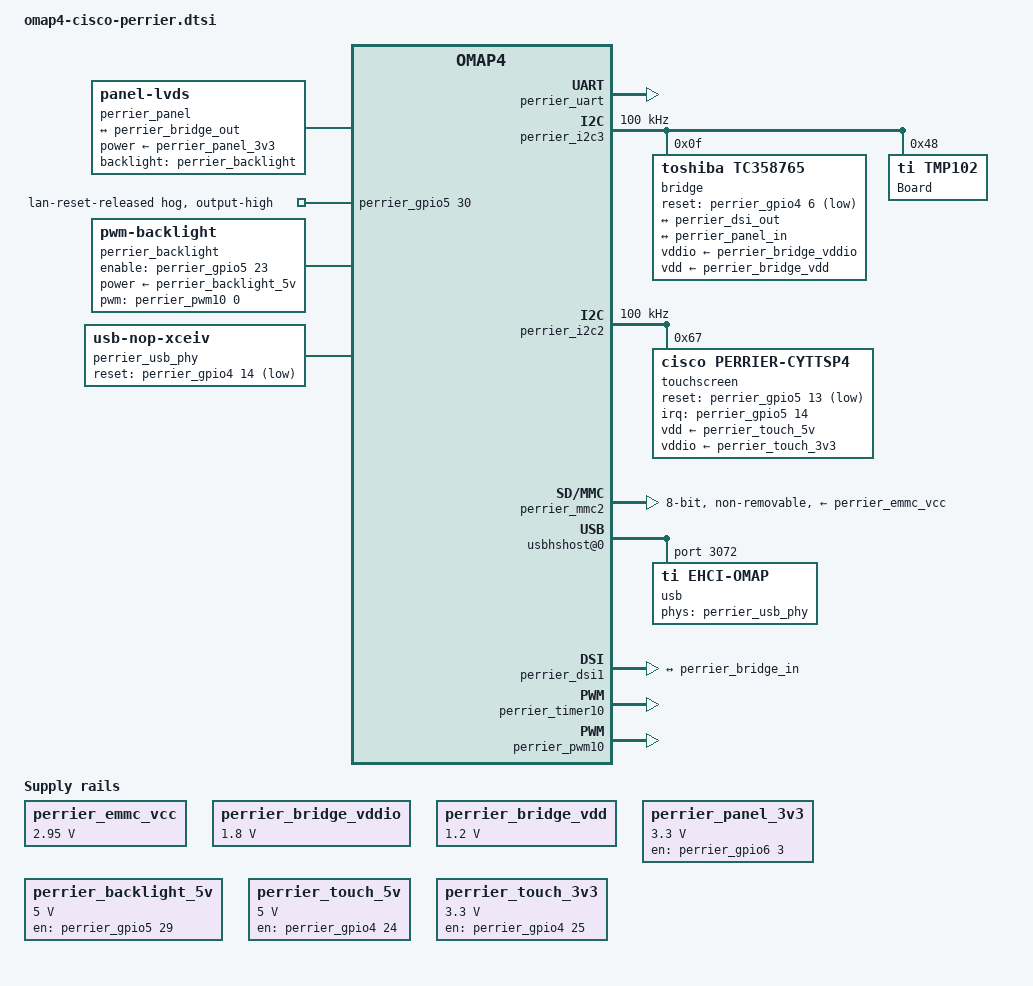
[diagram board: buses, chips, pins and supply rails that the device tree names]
// SPDX-License-Identifier: GPL-2.0-only
// Perrier hardware description; tested with the separate RAM policy.
#include <dt-bindings/gpio/gpio.h>
#include <dt-bindings/input/input.h>
#include <dt-bindings/input/linux-event-codes.h>

// Verified Perrier peripheral wiring and board-specific display settings.

/ {


	aliases {
		serial0 = &perrier_uart;
		mmc0 = &perrier_mmc2;
		i2c1 = &perrier_i2c2;
		i2c2 = &perrier_i2c3;
		/delete-property/ i2c0;
		/delete-property/ i2c3;
		/delete-property/ serial1;
		/delete-property/ serial2;
		/delete-property/ serial3;
		/delete-property/ mmc1;
		/delete-property/ mmc2;
		/delete-property/ mmc3;
		/delete-property/ mmc4;
	};
	// Stock UART3 is already muxed and clocked at 48 MHz. No pad/GPIO writes.
	perrier_uart: serial@48020000 {
		compatible = "ti,omap4-uart";
		reg = <0x48020000 0x100>;
		interrupts = <GIC_SPI 74 IRQ_TYPE_LEVEL_HIGH>;
		interrupt-parent = <&gic>;
		clock-frequency = <48000000>;
	};

	// Stock board data advertises OCR bit 0x20000 (2.9-3.0 V) for MMC2.
	// This fixed-regulator declaration has no enable GPIO and cannot change
	// the physical rail. The real board power sequence is still inherited.
	perrier_emmc_vcc: regulator-emmc-vcc {
		compatible = "regulator-fixed";
		regulator-name = "perrier-emmc-vcc";
		regulator-min-microvolt = <2950000>;
		regulator-max-microvolt = <2950000>;
		regulator-always-on;
	};

	// OMAP I2C3 is the stock display bridge bus at 0x48060000. Register
	// only the controller; do not instantiate the bridge or issue transfers.
	target-module@48060000 {
		compatible = "ti,sysc-omap2", "ti,sysc";
		reg = <0x48060000 0x8>, <0x48060010 0x8>, <0x48060090 0x8>;
		reg-names = "rev", "sysc", "syss";
		ti,sysc-mask = <(SYSC_OMAP2_CLOCKACTIVITY |
						 SYSC_OMAP2_ENAWAKEUP |
						 SYSC_OMAP2_SOFTRESET |
						 SYSC_OMAP2_AUTOIDLE)>;
		ti,sysc-sidle = <SYSC_IDLE_FORCE>, <SYSC_IDLE_NO>,
						<SYSC_IDLE_SMART>, <SYSC_IDLE_SMART_WKUP>;
		ti,syss-mask = <1>;
		clocks = <&l4_per_clkctrl OMAP4_I2C3_CLKCTRL 0>;
		clock-names = "fck";
		#address-cells = <1>;
		#size-cells = <1>;
		ranges = <0 0x48060000 0x1000>;

		perrier_i2c3: i2c@0 {
			compatible = "ti,omap4-i2c";
			reg = <0 0x100>;
			interrupts = <GIC_SPI 61 IRQ_TYPE_LEVEL_HIGH>;
			clock-frequency = <100000>;
			#address-cells = <1>;
			#size-cells = <0>;
		};
	};

	// OMAP I2C2 is the stock touchscreen bus at 0x48072000. Probe only the
	// controller: no child device, GPIO, pinmux or regulator is present.
	target-module@48072000 {
		compatible = "ti,sysc-omap2", "ti,sysc";
		reg = <0x48072000 0x8>, <0x48072010 0x8>, <0x48072090 0x8>;
		reg-names = "rev", "sysc", "syss";
		ti,sysc-mask = <(SYSC_OMAP2_CLOCKACTIVITY |
						 SYSC_OMAP2_ENAWAKEUP |
						 SYSC_OMAP2_SOFTRESET |
						 SYSC_OMAP2_AUTOIDLE)>;
		ti,sysc-sidle = <SYSC_IDLE_FORCE>, <SYSC_IDLE_NO>,
						<SYSC_IDLE_SMART>, <SYSC_IDLE_SMART_WKUP>;
		ti,syss-mask = <1>;
		clocks = <&l4_per_clkctrl OMAP4_I2C2_CLKCTRL 0>;
		clock-names = "fck";
		#address-cells = <1>;
		#size-cells = <1>;
		ranges = <0 0x48072000 0x1000>;

		perrier_i2c2: i2c@0 {
			compatible = "ti,omap4-i2c";
			reg = <0 0x100>;
			interrupts = <GIC_SPI 57 IRQ_TYPE_LEVEL_HIGH>;
			clock-frequency = <100000>;
			#address-cells = <1>;
			#size-cells = <0>;
		};
	};

	// MMC2 requires the OMAP system DMA controller in Linux 6.18.
	target-module@4a056000 {
		compatible = "ti,sysc-omap2", "ti,sysc";
		reg = <0x4a056000 0x4>, <0x4a05602c 0x4>, <0x4a056028 0x4>;
		reg-names = "rev", "sysc", "syss";
		ti,sysc-mask = <(SYSC_OMAP2_CLOCKACTIVITY |
						 SYSC_OMAP2_EMUFREE |
						 SYSC_OMAP2_SOFTRESET |
						 SYSC_OMAP2_AUTOIDLE)>;
		ti,sysc-midle = <SYSC_IDLE_FORCE>, <SYSC_IDLE_NO>, <SYSC_IDLE_SMART>;
		ti,sysc-sidle = <SYSC_IDLE_FORCE>, <SYSC_IDLE_NO>, <SYSC_IDLE_SMART>;
		ti,syss-mask = <1>;
		clocks = <&l3_dma_clkctrl OMAP4_DMA_SYSTEM_CLKCTRL 0>;
		clock-names = "fck";
		#address-cells = <1>;
		#size-cells = <1>;
		ranges = <0 0x4a056000 0x1000>;

		perrier_sdma: dma-controller@0 {
			compatible = "ti,omap4430-sdma", "ti,omap-sdma";
			reg = <0 0x1000>;
			interrupts = <GIC_SPI 12 IRQ_TYPE_LEVEL_HIGH>,
						 <GIC_SPI 13 IRQ_TYPE_LEVEL_HIGH>,
						 <GIC_SPI 14 IRQ_TYPE_LEVEL_HIGH>,
						 <GIC_SPI 15 IRQ_TYPE_LEVEL_HIGH>;
			#dma-cells = <1>;
			dma-channels = <32>;
			dma-requests = <127>;
		};
	};

	target-module@480b4000 {
		compatible = "ti,sysc-omap4", "ti,sysc";
		reg = <0x480b4000 0x4>, <0x480b4010 0x4>;
		reg-names = "rev", "sysc";
		ti,sysc-mask = <(SYSC_OMAP4_FREEEMU | SYSC_OMAP4_SOFTRESET)>;
		ti,sysc-midle = <SYSC_IDLE_FORCE>, <SYSC_IDLE_NO>,
						 <SYSC_IDLE_SMART>, <SYSC_IDLE_SMART_WKUP>;
		ti,sysc-sidle = <SYSC_IDLE_FORCE>, <SYSC_IDLE_NO>,
						 <SYSC_IDLE_SMART>, <SYSC_IDLE_SMART_WKUP>;
		clocks = <&l3_init_clkctrl OMAP4_MMC2_CLKCTRL 0>;
		clock-names = "fck";
		#address-cells = <1>;
		#size-cells = <1>;
		ranges = <0 0x480b4000 0x1000>;

		perrier_mmc2: mmc@0 {
			compatible = "ti,omap4-hsmmc";
			reg = <0 0x400>;
			interrupts = <GIC_SPI 86 IRQ_TYPE_LEVEL_HIGH>;
			ti,needs-special-reset;
			non-removable;
			ti,non-removable;
			bus-width = <8>;
			max-frequency = <26000000>;
			vmmc-supply = <&perrier_emmc_vcc>;
			dmas = <&perrier_sdma 47>, <&perrier_sdma 48>;
			dma-names = "tx", "rx";
		};
	};

	// Only the OMAP USB host target is populated. Its port 1 connects to the
	// board's already powered external PHY and SMSC95xx LAN chip. The stock
	// GPIO/pad state is inherited across kexec; this DT makes no GPIO writes.
	target-module@4a064000 {
		compatible = "ti,sysc-omap4", "ti,sysc";
		reg = <0x4a064000 0x4>, <0x4a064010 0x4>, <0x4a064014 0x4>;
		reg-names = "rev", "sysc", "syss";
		ti,sysc-mask = <SYSC_OMAP4_SOFTRESET>;
		ti,sysc-midle = <SYSC_IDLE_FORCE>, <SYSC_IDLE_NO>,
						 <SYSC_IDLE_SMART>, <SYSC_IDLE_SMART_WKUP>;
		ti,sysc-sidle = <SYSC_IDLE_FORCE>, <SYSC_IDLE_NO>,
						 <SYSC_IDLE_SMART>, <SYSC_IDLE_SMART_WKUP>;
		clocks = <&l3_init_clkctrl OMAP4_USB_HOST_HS_CLKCTRL 0>;
		clock-names = "fck";
		#address-cells = <1>;
		#size-cells = <1>;
		ranges = <0 0x4a064000 0x1000>;

		usbhshost@0 {
			compatible = "ti,usbhs-host";
			reg = <0 0x800>;
			num-ports = <2>;
			port1-mode = "ehci-phy";
			#address-cells = <1>;
			#size-cells = <1>;
			ranges = <0 0 0x1000>;
			clocks = <&l3_init_clkctrl OMAP4_USB_HOST_HS_CLKCTRL 24>,
					 <&l3_init_clkctrl OMAP4_USB_HOST_HS_CLKCTRL 25>,
					 <&xclk60mhsp1_ck>, <&xclk60mhsp2_ck>,
					 <&init_60m_fclk>,
					 <&l3_init_clkctrl OMAP4_USB_HOST_HS_CLKCTRL 8>,
					 <&l3_init_clkctrl OMAP4_USB_HOST_HS_CLKCTRL 9>,
					 <&l3_init_clkctrl OMAP4_USB_HOST_HS_CLKCTRL 13>,
					 <&l3_init_clkctrl OMAP4_USB_HOST_HS_CLKCTRL 14>,
					 <&l3_init_clkctrl OMAP4_USB_HOST_HS_CLKCTRL 11>,
					 <&l3_init_clkctrl OMAP4_USB_HOST_HS_CLKCTRL 12>;
			clock-names = "utmi_p1_gfclk", "utmi_p2_gfclk",
				      "refclk_60m_ext_p1", "refclk_60m_ext_p2",
				      "refclk_60m_int",
				      "usb_host_hs_utmi_p1_clk", "usb_host_hs_utmi_p2_clk",
				      "usb_host_hs_hsic480m_p1_clk", "usb_host_hs_hsic480m_p2_clk",
				      "usb_host_hs_hsic60m_p1_clk", "usb_host_hs_hsic60m_p2_clk";

			usb@c00 {
				compatible = "ti,ehci-omap";
				reg = <0xc00 0x400>;
				interrupts = <GIC_SPI 77 IRQ_TYPE_LEVEL_HIGH>;
				#address-cells = <1>;
				#size-cells = <0>;

				ethernet@1 {
					compatible = "usb424,9e00";
					reg = <1>;
					local-mac-address = [24 16 9d b6 77 bb];
				};
			};
		};
	};
};

// Native display stage. The logical regulators have no control GPIO and do
// not change board voltages. Their names match the TC358765 supply pins;
// stock kexec must leave those physical rails on for this stage to work.
&{/} {
	perrier_bridge_vddio: regulator-bridge-vddio {
		compatible = "regulator-fixed";
		regulator-name = "perrier-bridge-vddio-logic-only";
		regulator-min-microvolt = <1800000>;
		regulator-max-microvolt = <1800000>;
		regulator-always-on;
	};
	perrier_bridge_vdd: regulator-bridge-vdd {
		compatible = "regulator-fixed";
		regulator-name = "perrier-bridge-vdd-logic-only";
		regulator-min-microvolt = <1200000>;
		regulator-max-microvolt = <1200000>;
		regulator-always-on;
	};
	// Stock DSI callbacks control this identified LCD 3.3 V switch.
	perrier_panel_3v3: regulator-panel-3v3 {
		compatible = "regulator-fixed";
		regulator-name = "perrier-panel-3v3";
		regulator-min-microvolt = <3300000>;
		regulator-max-microvolt = <3300000>;
		gpio = <&perrier_gpio6 3 GPIO_ACTIVE_HIGH>;
		enable-active-high;
	};
	target-module@48059000 {
		compatible = "ti,sysc-omap2", "ti,sysc";
		reg = <0x48059000 4>, <0x48059010 4>, <0x48059114 4>;
		reg-names = "rev", "sysc", "syss";
		ti,no-reset-on-init;
		ti,sysc-mask = <(SYSC_OMAP2_ENAWAKEUP |
						 SYSC_OMAP2_SOFTRESET |
						 SYSC_OMAP2_AUTOIDLE)>;
		ti,sysc-sidle = <SYSC_IDLE_FORCE>, <SYSC_IDLE_NO>,
						<SYSC_IDLE_SMART>, <SYSC_IDLE_SMART_WKUP>;
		ti,syss-mask = <1>;
		clocks = <&l4_per_clkctrl OMAP4_GPIO4_CLKCTRL 0>,
				 <&l4_per_clkctrl OMAP4_GPIO4_CLKCTRL 8>;
		clock-names = "fck", "dbclk";
		#address-cells = <1>;
		#size-cells = <1>;
		ranges = <0 0x48059000 0x1000>;
		perrier_gpio4: gpio@0 {
			compatible = "ti,omap4-gpio";
			reg = <0 0x200>;
			interrupts = <GIC_SPI 32 IRQ_TYPE_LEVEL_HIGH>;
			gpio-controller;
			#gpio-cells = <2>;
			interrupt-controller;
			#interrupt-cells = <2>;
		};
	};
	// Preserve the other GPIO6 outputs; only GPIO163 is claimed above.
	target-module@4805d000 {
		compatible = "ti,sysc-omap2", "ti,sysc";
		reg = <0x4805d000 4>, <0x4805d010 4>, <0x4805d114 4>;
		reg-names = "rev", "sysc", "syss";
		ti,no-reset-on-init;
		ti,sysc-mask = <(SYSC_OMAP2_ENAWAKEUP |
						 SYSC_OMAP2_SOFTRESET |
						 SYSC_OMAP2_AUTOIDLE)>;
		ti,sysc-sidle = <SYSC_IDLE_FORCE>, <SYSC_IDLE_NO>,
						<SYSC_IDLE_SMART>, <SYSC_IDLE_SMART_WKUP>;
		ti,syss-mask = <1>;
		clocks = <&l4_per_clkctrl OMAP4_GPIO6_CLKCTRL 0>,
				 <&l4_per_clkctrl OMAP4_GPIO6_CLKCTRL 8>;
		clock-names = "fck", "dbclk";
		#address-cells = <1>;
		#size-cells = <1>;
		ranges = <0 0x4805d000 0x1000>;
		perrier_gpio6: gpio@0 {
			compatible = "ti,omap4-gpio";
			reg = <0 0x200>;
			interrupts = <GIC_SPI 34 IRQ_TYPE_LEVEL_HIGH>;
			gpio-controller;
			#gpio-cells = <2>;
			interrupt-controller;
			#interrupt-cells = <2>;
		};
	};
	target-module@58000000 {
		compatible = "ti,sysc-omap2", "ti,sysc";
		reg = <0x58000000 4>, <0x58000014 4>;
		reg-names = "rev", "syss";
		ti,syss-mask = <1>;
		clocks = <&l3_dss_clkctrl OMAP4_DSS_CORE_CLKCTRL 0>,
				 <&l3_dss_clkctrl OMAP4_DSS_CORE_CLKCTRL 9>,
				 <&l3_dss_clkctrl OMAP4_DSS_CORE_CLKCTRL 10>,
				 <&l3_dss_clkctrl OMAP4_DSS_CORE_CLKCTRL 11>;
		clock-names = "fck", "hdmi_clk", "sys_clk", "tv_clk";
		#address-cells = <1>;
		#size-cells = <1>;
		ranges = <0 0x58000000 0x1000000>;

		perrier_dss: dss@0 {
			compatible = "ti,omap4-dss";
			reg = <0 0x80>;
			clocks = <&l3_dss_clkctrl OMAP4_DSS_CORE_CLKCTRL 8>;
			clock-names = "fck";
			#address-cells = <1>;
			#size-cells = <1>;
			ranges = <0 0 0x1000000>;

			target-module@1000 {
				compatible = "ti,sysc-omap2", "ti,sysc";
				reg = <0x1000 4>, <0x1010 4>, <0x1014 4>;
				reg-names = "rev", "sysc", "syss";
				ti,sysc-sidle = <SYSC_IDLE_FORCE>,
					<SYSC_IDLE_NO>,
					<SYSC_IDLE_SMART>;
				ti,sysc-midle = <SYSC_IDLE_FORCE>,
					<SYSC_IDLE_NO>,
					<SYSC_IDLE_SMART>;
				ti,sysc-mask = <(SYSC_OMAP2_CLOCKACTIVITY |
								 SYSC_OMAP2_ENAWAKEUP |
								 SYSC_OMAP2_SOFTRESET |
								 SYSC_OMAP2_AUTOIDLE)>;
				ti,syss-mask = <1>;
				clocks = <&l3_dss_clkctrl OMAP4_DSS_CORE_CLKCTRL 8>,
						 <&l3_dss_clkctrl OMAP4_DSS_CORE_CLKCTRL 10>;
				clock-names = "fck", "sys_clk";
				#address-cells = <1>;
				#size-cells = <1>;
				ranges = <0 0x1000 0x1000>;
				dispc@0 {
					compatible = "ti,omap4-dispc";
					reg = <0 0x1000>;
					interrupts = <GIC_SPI 25 IRQ_TYPE_LEVEL_HIGH>;
					clocks = <&l3_dss_clkctrl OMAP4_DSS_CORE_CLKCTRL 8>;
					clock-names = "fck";
				};
			};

			target-module@4000 {
				compatible = "ti,sysc-omap2", "ti,sysc";
				reg = <0x4000 4>, <0x4010 4>, <0x4014 4>;
				reg-names = "rev", "sysc", "syss";
				ti,sysc-sidle = <SYSC_IDLE_FORCE>, <SYSC_IDLE_NO>,
								<SYSC_IDLE_SMART>;
				ti,sysc-mask = <(SYSC_OMAP2_CLOCKACTIVITY |
								 SYSC_OMAP2_ENAWAKEUP |
								 SYSC_OMAP2_SOFTRESET |
								 SYSC_OMAP2_AUTOIDLE)>;
				ti,syss-mask = <1>;
				#address-cells = <1>;
				#size-cells = <1>;
				ranges = <0 0x4000 0x1000>;
				perrier_dsi1: encoder@0 {
					compatible = "ti,omap4-dsi";
					reg = <0 0x200>, <0x200 0x40>, <0x300 0x20>;
					reg-names = "proto", "phy", "pll";
					interrupts = <GIC_SPI 53 IRQ_TYPE_LEVEL_HIGH>;
					clocks = <&l3_dss_clkctrl OMAP4_DSS_CORE_CLKCTRL 8>,
						 <&l3_dss_clkctrl OMAP4_DSS_CORE_CLKCTRL 10>;
					clock-names = "fck", "sys_clk";
					#address-cells = <1>;
					#size-cells = <0>;
					port {
						perrier_dsi_out: endpoint {
							remote-endpoint = <&perrier_bridge_in>;
							// Stock DSI_COMPLEXIO_CFG1 = 0x2a054321.
							lanes = <0 1 2 3 4 5 6 7 8 9>;
						};
					};
				};
			};
		};
	};

	perrier_panel: panel {
		backlight = <&perrier_backlight>;
		compatible = "panel-lvds";
		data-mapping = "vesa-24";
		power-supply = <&perrier_panel_3v3>;
		// Approximate mechanical size; only timing and mapping are electrical.
		width-mm = <217>;
		height-mm = <136>;
		panel-timing {
			// Measured stock DISPC pck is 71,073,662 Hz; DRM uses kHz.
			clock-frequency = <71074000>;
			hactive = <1280>;
			hfront-porch = <78>;
			hback-porch = <79>;
			hsync-len = <3>;
			vactive = <800>;
			vfront-porch = <12>;
			vback-porch = <10>;
			vsync-len = <1>;
		};
		port {
			perrier_panel_in: endpoint {
				remote-endpoint = <&perrier_bridge_out>;
			};
		};
	};
};

&perrier_i2c3 {
	bridge@f {
		compatible = "toshiba,tc358765";
		reg = <0x0f>;
		vddio-supply = <&perrier_bridge_vddio>;
		vdd-supply = <&perrier_bridge_vdd>;
		// Stock GPIO102 is high in operation, low while reset is asserted.
		reset-gpios = <&perrier_gpio4 6 GPIO_ACTIVE_LOW>;
		ports {
			#address-cells = <1>;
			#size-cells = <0>;
			port@0 {
				reg = <0>;
				perrier_bridge_in: endpoint {
					remote-endpoint = <&perrier_dsi_out>;
					data-lanes = <1 2 3 4>;
				};
			};
			port@1 {
				reg = <1>;
				perrier_bridge_out: endpoint {
					remote-endpoint = <&perrier_panel_in>;
				};
			};
		};
	};
};



// Cypress Gen4 controller and its dedicated interrupt/reset bank.

&{/} {
	// GPIO5 also holds reset/backlight pins. Preserve all stock output latches.
	target-module@4805b000 {
		compatible = "ti,sysc-omap2", "ti,sysc";
		reg = <0x4805b000 4>, <0x4805b010 4>, <0x4805b114 4>;
		reg-names = "rev", "sysc", "syss";
		ti,no-reset-on-init;
		ti,sysc-mask = <(SYSC_OMAP2_ENAWAKEUP |
						 SYSC_OMAP2_SOFTRESET |
						 SYSC_OMAP2_AUTOIDLE)>;
		ti,sysc-sidle = <SYSC_IDLE_FORCE>, <SYSC_IDLE_NO>,
						<SYSC_IDLE_SMART>, <SYSC_IDLE_SMART_WKUP>;
		ti,syss-mask = <1>;
		clocks = <&l4_per_clkctrl OMAP4_GPIO5_CLKCTRL 0>,
				 <&l4_per_clkctrl OMAP4_GPIO5_CLKCTRL 8>;
		clock-names = "fck", "dbclk";
		#address-cells = <1>;
		#size-cells = <1>;
		ranges = <0 0x4805b000 0x1000>;

		perrier_gpio5: gpio@0 {
			compatible = "ti,omap4-gpio";
			reg = <0 0x200>;
			interrupts = <GIC_SPI 33 IRQ_TYPE_LEVEL_HIGH>;
			gpio-controller;
			#gpio-cells = <2>;
			interrupt-controller;
			#interrupt-cells = <2>;
		};
	};
};

&perrier_i2c2 {
	pinctrl-names = "default";
	pinctrl-0 = <&perrier_touch_i2c_pins>;
	touchscreen@67 {
		compatible = "cisco,perrier-cyttsp4";
		pinctrl-names = "default";
		pinctrl-0 = <&perrier_touch_pins>;
		reset-gpios = <&perrier_gpio5 13 GPIO_ACTIVE_LOW>;
		vdd-supply = <&perrier_touch_5v>;
		vddio-supply = <&perrier_touch_3v3>;
		reg = <0x67>;
		interrupt-parent = <&perrier_gpio5>;
		interrupts = <14 IRQ_TYPE_EDGE_FALLING>;
		touchscreen-size-x = <1280>;
		touchscreen-size-y = <800>;
	};
};

// Timer10 PWM, LCD power and backlight enable use standard drivers.

&{/} {
	target-module@48086000 {
		compatible = "ti,sysc-omap2-timer", "ti,sysc";
		reg = <0x48086000 4>, <0x48086010 4>, <0x48086014 4>;
		reg-names = "rev", "sysc", "syss";
		ti,no-reset-on-init;
		ti,sysc-mask = <(SYSC_OMAP2_CLOCKACTIVITY |
						 SYSC_OMAP2_EMUFREE |
						 SYSC_OMAP2_ENAWAKEUP |
						 SYSC_OMAP2_SOFTRESET |
						 SYSC_OMAP2_AUTOIDLE)>;
		ti,sysc-sidle = <SYSC_IDLE_FORCE>, <SYSC_IDLE_NO>,
						<SYSC_IDLE_SMART>;
		ti,syss-mask = <1>;
		clocks = <&l4_per_clkctrl OMAP4_TIMER10_CLKCTRL 0>;
		clock-names = "fck";
		#address-cells = <1>;
		#size-cells = <1>;
		ranges = <0 0x48086000 0x1000>;

		perrier_timer10: timer@0 {
			compatible = "ti,omap3430-timer";
			reg = <0 0x80>;
			clocks = <&l4_per_clkctrl OMAP4_TIMER10_CLKCTRL 24>,
					 <&sys_clkin_ck>;
			clock-names = "fck", "timer_sys_ck";
			interrupts = <GIC_SPI 46 IRQ_TYPE_LEVEL_HIGH>;
			ti,timer-pwm;
		};
	};

	perrier_pwm10: pwm-backlight-timer {
		compatible = "ti,omap-dmtimer-pwm";
		ti,timers = <&perrier_timer10>;
		#pwm-cells = <3>;
	};

	perrier_backlight: backlight {
		compatible = "pwm-backlight";
		pinctrl-names = "default";
		pinctrl-0 = <&perrier_backlight_pwm_pin &perrier_backlight_enable_pin>;
		power-supply = <&perrier_backlight_5v>;
		enable-gpios = <&perrier_gpio5 23 GPIO_ACTIVE_HIGH>;
		pwms = <&perrier_pwm10 0 50000 0>;
		brightness-levels = <0 64 128 192 255>;
		default-brightness-level = <4>;
	};
};



// OMAP4 matrix keypad for the three front keys.
// Keypad pinmux ownership is a remaining board-support follow-up.

&{/} {
	target-module@4a31c000 {
		compatible = "ti,sysc-omap4", "ti,sysc";
		reg = <0x4a31c000 4>, <0x4a31c010 4>, <0x4a31c014 4>;
		reg-names = "rev", "sysc", "syss";
		ti,no-reset-on-init;
		ti,sysc-mask = <(SYSC_OMAP2_CLOCKACTIVITY |
						 SYSC_OMAP2_EMUFREE |
						 SYSC_OMAP2_ENAWAKEUP |
						 SYSC_OMAP2_SOFTRESET |
						 SYSC_OMAP2_AUTOIDLE)>;
		ti,sysc-sidle = <SYSC_IDLE_FORCE>, <SYSC_IDLE_NO>,
						<SYSC_IDLE_SMART>;
		ti,syss-mask = <1>;
		clocks = <&l4_wkup_clkctrl OMAP4_KBD_CLKCTRL 0>;
		clock-names = "fck";
		#address-cells = <1>;
		#size-cells = <1>;
		ranges = <0 0x4a31c000 0x1000>;

		perrier_keypad: keypad@0 {
			compatible = "ti,omap4-keypad";
			reg = <0 0x80>;
			reg-names = "mpu";
			interrupts = <GIC_SPI 120 IRQ_TYPE_LEVEL_HIGH>;
			keypad,num-rows = <2>;
			keypad,num-columns = <6>;
			linux,keymap = <MATRIX_KEY(0, 4, KEY_VOLUMEDOWN)
							MATRIX_KEY(1, 4, KEY_MUTE)
							MATRIX_KEY(1, 5, KEY_VOLUMEUP)>;
		};
	};
};

// TMP102 board sensor and OMAP4460 MPU bandgap sensor.

&perrier_i2c3 {
	// Stock firmware binds tmp102 at I2C3 address 0x48. No supply, alert
	// GPIO, or pinmux is specified; only its volatile conversion setup is
	// changed by the mainline hwmon driver.
	temperature-sensor@48 {
		compatible = "ti,tmp102";
		reg = <0x48>;
		label = "Board";
	};
};

&{/} {
	// The generic /ocp bus remains disabled. Describe only GPIO3, which
	// provides the bandgap TSHUT input, with the same no-reset pattern as
	// the working GPIO4/5/6 modules. No pinctrl state or output is defined.
	target-module@48057000 {
		compatible = "ti,sysc-omap2", "ti,sysc";
		reg = <0x48057000 4>, <0x48057010 4>, <0x48057114 4>;
		reg-names = "rev", "sysc", "syss";
		ti,no-reset-on-init;
		ti,sysc-mask = <(SYSC_OMAP2_ENAWAKEUP |
						 SYSC_OMAP2_SOFTRESET |
						 SYSC_OMAP2_AUTOIDLE)>;
		ti,sysc-sidle = <SYSC_IDLE_FORCE>, <SYSC_IDLE_NO>,
						<SYSC_IDLE_SMART>, <SYSC_IDLE_SMART_WKUP>;
		ti,syss-mask = <1>;
		clocks = <&l4_per_clkctrl OMAP4_GPIO3_CLKCTRL 0>,
				 <&l4_per_clkctrl OMAP4_GPIO3_CLKCTRL 8>;
		clock-names = "fck", "dbclk";
		#address-cells = <1>;
		#size-cells = <1>;
		ranges = <0 0x48057000 0x1000>;
		perrier_gpio3: gpio@0 {
			compatible = "ti,omap4-gpio";
			reg = <0 0x200>;
			interrupts = <GIC_SPI 31 IRQ_TYPE_LEVEL_HIGH>;
			gpio-controller;
			#gpio-cells = <2>;
			interrupt-controller;
			#interrupt-cells = <2>;
		};
	};

	perrier_bandgap: bandgap@4a002260 {
		compatible = "ti,omap4460-bandgap";
		reg = <0x4a002260 0x4>, <0x4a00232c 0x4>, <0x4a002378 0x18>;
		interrupts = <GIC_SPI 126 IRQ_TYPE_LEVEL_HIGH>;
		// Mainline requests GPIO86 as an input for over-temperature TSHUT.
		gpios = <&perrier_gpio3 22 GPIO_ACTIVE_HIGH>;
		#thermal-sensor-cells = <0>;
	};
};

&{/thermal-zones} { status = "okay"; };
&cpu_thermal {
	thermal-sensors = <&perrier_bandgap>;
	// CPU frequency scaling is intentionally disabled in RAM trials.
	/delete-node/ cooling-maps;
};

// Cold-start recovery using the mainline OMAP WDT2 driver.

&{/} {
	// The legacy /ocp hierarchy stays disabled. Match the upstream OMAP4
	// WDT2 target description at its physical address. Preserve a timer
	// inherited through kexec until omap_wdt deliberately takes ownership.
	target-module@4a314000 {
		compatible = "ti,sysc-omap2", "ti,sysc";
		reg = <0x4a314000 4>, <0x4a314010 4>, <0x4a314014 4>;
		reg-names = "rev", "sysc", "syss";
		ti,no-reset-on-init;
		ti,no-idle-on-init;
		ti,sysc-mask = <(SYSC_OMAP2_EMUFREE | SYSC_OMAP2_SOFTRESET)>;
		ti,sysc-sidle = <SYSC_IDLE_FORCE>, <SYSC_IDLE_NO>,
						<SYSC_IDLE_SMART>, <SYSC_IDLE_SMART_WKUP>;
		ti,syss-mask = <1>;
		clocks = <&l4_wkup_clkctrl OMAP4_WD_TIMER2_CLKCTRL 0>;
		clock-names = "fck";
		#address-cells = <1>;
		#size-cells = <1>;
		ranges = <0 0x4a314000 0x1000>;
		watchdog@0 {
			compatible = "ti,omap4-wdt", "ti,omap3-wdt";
			reg = <0 0x80>;
			interrupts = <GIC_SPI 80 IRQ_TYPE_LEVEL_HIGH>;
			timeout-sec = <120>;
		};
	};
};

// Ethernet cold-start settings verified from this unit's stock board code
// and pad/clock readback in perrier-stock-coldinit-gpio-clock-2026-11-10.txt.

&{/} {
	// The legacy /ocp pin controller is not populated. This controller owns
	// only the explicitly requested board pads; it has no default state.
	perrier_core_pins: pinctrl@4a100040 {
		compatible = "pinctrl-single";
		reg = <0x4a100040 0x196>;
		#address-cells = <1>;
		#size-cells = <0>;
		#pinctrl-cells = <1>;
		pinctrl-single,register-width = <16>;
		pinctrl-single,function-mask = <0x7fff>;

		perrier_ethernet_phy_pins: ethernet-phy-pins {
				pinctrl-single,pins = <
					// ULPI CLK, input/pulldown, mode 4
					OMAP4_IOPAD(0x0c2, 0x010c)
					OMAP4_IOPAD(0x0c4, 0x0004) // ULPI STP, output, mode 4
					OMAP4_IOPAD(0x0c6, 0x010c) // ULPI DIR
					OMAP4_IOPAD(0x0c8, 0x010c) // ULPI NXT
					OMAP4_IOPAD(0x0ca, 0x010c) // ULPI DAT0
					OMAP4_IOPAD(0x0cc, 0x010c) // ULPI DAT1
					OMAP4_IOPAD(0x0ce, 0x010c) // ULPI DAT2
					OMAP4_IOPAD(0x0d0, 0x010c) // ULPI DAT3
					OMAP4_IOPAD(0x0d2, 0x010c) // ULPI DAT4
					OMAP4_IOPAD(0x0d4, 0x010c) // ULPI DAT5
					OMAP4_IOPAD(0x0d6, 0x010c) // ULPI DAT6
					OMAP4_IOPAD(0x0d8, 0x010c) // ULPI DAT7
					// GPIO110 USB PHY reset, output mode 3
					OMAP4_IOPAD(0x0f6, 0x0003)
					// FREF_CLK1_OUT, stock mode 0/pullup
					OMAP4_IOPAD(0x19a, 0x0118)
				>;
		};

		perrier_lan_reset_pin: lan-reset-pins {
			pinctrl-single,pins = <OMAP4_IOPAD(0x162, 0x0003)>;
		};
	};

	perrier_usb_phy: usb-phy {
		compatible = "usb-nop-xceiv";
		#phy-cells = <0>;
		pinctrl-names = "default";
		pinctrl-0 = <&perrier_ethernet_phy_pins>;
		reset-gpios = <&perrier_gpio4 14 GPIO_ACTIVE_LOW>; // GPIO110, stock high = released
		clocks = <&auxclk1_ck>;
		clock-names = "main_clk";
		clock-frequency = <19200000>;
		// Select the same fixed 38.4 MHz parent as stock, then divide by 2.
		// No shared DPLL is reprogrammed.
		assigned-clocks = <&auxclk1_src_ck>;
		assigned-clock-parents = <&sys_clkin_ck>;
	};
};

&perrier_gpio5 {
	pinctrl-names = "default";
	pinctrl-0 = <&perrier_lan_reset_pin>;
	lan-reset-hog {
		gpio-hog;
		gpios = <30 GPIO_ACTIVE_HIGH>; // GPIO158, stock output high
		output-high;
		line-name = "lan-reset-released";
	};
};

&{/target-module@4a064000/usbhshost@0/usb@c00} {
	phys = <&perrier_usb_phy>;
};

// Stock perrier_init, idefix_touch_init and live stock pinmux readback.

&perrier_core_pins {
	perrier_backlight_5v_pin: backlight-5v-pin {
		pinctrl-single,pins = <OMAP4_IOPAD(0x160, 0x0003)>;
	};
	perrier_backlight_pwm_pin: backlight-pwm-pin {
		pinctrl-single,pins = <OMAP4_IOPAD(0x1d2, 0x0001)>;
	};
	perrier_backlight_enable_pin: backlight-enable-pin {
		// Stock idefix_backlight_set_pad uses GPIO151, MCSPI4_CLK at 0x154.
		// 0x156 in the historical inspector was MCSPI4_SIMO, a different pad.
		pinctrl-single,pins = <OMAP4_IOPAD(0x154, 0x0003)>;
	};
	perrier_touch_5v_pin: touch-5v-pin {
		pinctrl-single,pins = <OMAP4_IOPAD(0x112, 0x0003)>;
	};
	perrier_touch_3v3_pin: touch-3v3-pin {
		pinctrl-single,pins = <OMAP4_IOPAD(0x114, 0x0003)>;
	};
	perrier_touch_pins: touch-pins {
		pinctrl-single,pins = <
			OMAP4_IOPAD(0x140, 0x0003) // GPIO141 reset output
			OMAP4_IOPAD(0x142, 0x731b) // GPIO142 IRQ input/pull-up/off wake
		>;
	};
	perrier_touch_i2c_pins: touch-i2c-pins {
		pinctrl-single,pins = <
			OMAP4_IOPAD(0x126, 0x0100)
			OMAP4_IOPAD(0x128, 0x0100)
		>;
	};
};

&{/} {
	perrier_backlight_5v: regulator-backlight-5v {
		compatible = "regulator-fixed";
		regulator-name = "perrier-backlight-5v";
		regulator-min-microvolt = <5000000>;
		regulator-max-microvolt = <5000000>;
		pinctrl-names = "default";
		pinctrl-0 = <&perrier_backlight_5v_pin>;
		gpio = <&perrier_gpio5 29 GPIO_ACTIVE_HIGH>; // GPIO157 lcd_5v_enable
		enable-active-high;
		// Stock enables 5 V and waits 11 ms before programming timer10.
		startup-delay-us = <11000>;
	};
	perrier_touch_5v: regulator-touch-5v {
		compatible = "regulator-fixed";
		regulator-name = "perrier-touch-5v";
		regulator-min-microvolt = <5000000>;
		regulator-max-microvolt = <5000000>;
		pinctrl-names = "default";
		pinctrl-0 = <&perrier_touch_5v_pin>;
		gpio = <&perrier_gpio4 24 GPIO_ACTIVE_HIGH>; // stock tp_5v_en GPIO120
		enable-active-high;
	};
	perrier_touch_3v3: regulator-touch-3v3 {
		compatible = "regulator-fixed";
		regulator-name = "perrier-touch-3v3";
		regulator-min-microvolt = <3300000>;
		regulator-max-microvolt = <3300000>;
		pinctrl-names = "default";
		pinctrl-0 = <&perrier_touch_3v3_pin>;
		gpio = <&perrier_gpio4 25 GPIO_ACTIVE_HIGH>; // stock tp_3v3_en GPIO121
		enable-active-high;
	};
};
